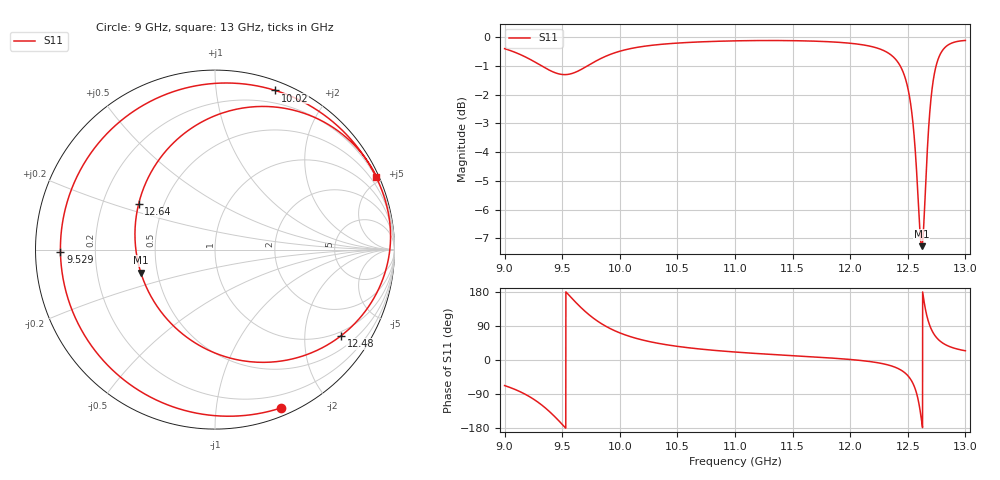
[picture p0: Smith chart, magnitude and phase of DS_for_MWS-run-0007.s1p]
! TOUCHSTONE file generated by CST DESIGN STUDIO
! Date and time: Tue Feb  4 16:06:20 2025
! Project name: C:\Work\MatlabApps\UnitCellOptimizationMatlab\CST\unitcell.cst
! Tree item: Tasks\Sweep1\SPara1\S-Parameters
! Header version: 2024
! Port assignment regex: !\s*Touchstone port\s*([0-9]+)\s*=\s*(CST MWS port|CST DES external port|CST DES block port)\s*(.+)\s* \(\"(.*)\"\)(\s*mode\s*([0-9]+))?.*
! Touchstone port assignment:
! Touchstone port 1 = CST DES external port 1 ("")
# GHz S MA R 50
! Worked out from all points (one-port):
!   4001 points, 9 GHz to 13 GHz, reference 50 ohm
!   lowest |S11| = -7.3 dB at 12.62 GHz (marker M1), VSWR 2.53, Z = 20.2 - j6.34 ohm
!   |S11| at or under -10 dB: nowhere
!   S11 on the Smith chart (normalised r, x): 9 GHz: 0.07, -1.49; 9.529 GHz: 0.07, -0.01; 10.02 GHz: 0.08, +1.45; 12.48 GHz: 0.87, -3.00; 12.64 GHz: 0.36, +0.24; 13 GHz: 0.14, +4.63
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9  0.9557 -67.5
9.17  0.9266 -89.0
9.289  0.8996 -111.2
9.392  0.876 -136.8
9.5  0.8616 -169.8
9.529  0.8612 -179.3
9.621  0.8705 151.0
9.744  0.8979 116.7
9.854  0.9224 93.4
10  0.9459 71.6
10.02  0.9483 69.2
10.227  0.9658 50.6
10.5  0.9773 36.0
11  0.9861 21.0
11.5  0.9868 11.4
12  0.9766 1.4
12.331  0.9389 -13.2
12.477  0.8504 -34.4
12.5  0.8166 -41.2
12.572  0.6044 -83.4
12.596  0.4954 -114.0
12.621  0.4328 -162.8
12.644  0.4955 149.2
12.679  0.686 101.5
12.718  0.8339 73.0
12.763  0.9159 54.7
12.818  0.958 41.9
13  0.9876 24.3
